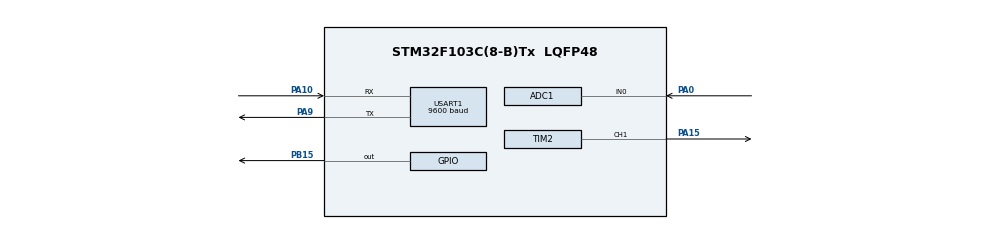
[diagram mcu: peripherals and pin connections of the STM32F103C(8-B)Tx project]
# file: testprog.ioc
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ADC1.Channel-0\#ChannelRegularConversion=ADC_CHANNEL_0
ADC1.ContinuousConvMode=DISABLE
ADC1.DataAlign=ADC_DATAALIGN_RIGHT
ADC1.DiscontinuousConvMode=DISABLE
ADC1.EnableAnalogWatchDog=false
ADC1.EnableRegularConversion=ENABLE
ADC1.ExternalTrigConv=ADC_SOFTWARE_START
ADC1.InjNumberOfConversion=0
ADC1.NbrOfConversion=1
ADC1.NbrOfConversionFlag=1
ADC1.Rank-0\#ChannelRegularConversion=1
ADC1.SamplingTime-0\#ChannelRegularConversion=ADC_SAMPLETIME_55CYCLES_5
ADC1.ScanConvMode=ADC_SCAN_DISABLE
ADC1.master=1
Dma.ADC1.0.Direction=DMA_PERIPH_TO_MEMORY
Dma.ADC1.0.Instance=DMA1_Channel1
Dma.ADC1.0.MemDataAlignment=DMA_MDATAALIGN_HALFWORD
Dma.ADC1.0.MemInc=DMA_MINC_ENABLE
Dma.ADC1.0.Mode=DMA_NORMAL
Dma.ADC1.0.PeriphDataAlignment=DMA_PDATAALIGN_HALFWORD
Dma.ADC1.0.PeriphInc=DMA_PINC_DISABLE
Dma.ADC1.0.Priority=DMA_PRIORITY_LOW
Dma.Request0=ADC1
FREERTOS.HEAP_NUMBER=4
FREERTOS.Tasks01=defaultTask,0,128,StartDefaultTask,Default,NULL,Dynamic,NULL,NULL;MessTask,0,128,StartMessTask,Default,NULL,Dynamic,NULL,NULL;UARTTxTask,0,128,StartUARTTxTask,Default,NULL,Dynamic,NULL,NULL
FREERTOS.configMINIMAL_STACK_SIZE=128
FREERTOS.configTOTAL_HEAP_SIZE=6000
Mcu.Family=STM32F1
Mcu.Name=STM32F103C(8-B)Tx
Mcu.Package=LQFP48
NVIC.DMA1_Channel1_IRQn=true\:5\:0\:false\:false\:true\:true\:false
NVIC.PriorityGroup=NVIC_PRIORITYGROUP_4
NVIC.TIM1_UP_IRQn=true\:0\:0\:false\:false\:true\:false\:false
NVIC.TIM3_IRQn=true\:5\:0\:false\:false\:true\:true\:true
NVIC.TimeBase=TIM1_UP_IRQn
NVIC.TimeBaseIP=TIM1
NVIC.USART1_IRQn=true\:5\:0\:false\:false\:true\:true\:true
PA0-WKUP.Signal=ADCx_IN0
PA10.Mode=Asynchronous
PA10.Signal=USART1_RX
PA15.Signal=S_TIM2_CH1_ETR
PA9.Mode=Asynchronous
PA9.Signal=USART1_TX
PB15.Signal=GPIO_Output
ProjectManager.HeapSize=0x200
ProjectManager.StackSize=0x400
ProjectManager.TargetToolchain=MDK-ARM V4
RCC.APB1Freq_Value=8000000
RCC.APB2Freq_Value=8000000
SH.ADCx_IN0.0=ADC1_IN0,IN0
SH.S_TIM2_CH1_ETR.0=TIM2_CH1,PWM Generation1 CH1
TIM2.Channel-PWM\ Generation1\ CH1=TIM_CHANNEL_1
TIM2.Period=65535
TIM3.Period=10
TIM3.Prescaler=800
USART1.BaudRate=9600
USART1.VirtualMode=VM_ASYNC
VP_FREERTOS_VS_ENABLE.Mode=Enabled
VP_SYS_VS_ND.Mode=No_Debug
VP_SYS_VS_tim1.Mode=TIM1
VP_TIM2_VS_ClockSourceINT.Mode=Internal
VP_TIM3_VS_ClockSourceINT.Mode=Internal
board=testprog

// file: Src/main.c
/**
  ******************************************************************************
  * @file           : main.c
  * @brief          : Main program body
  ******************************************************************************
  * This notice applies to any and all portions of this file
  * that are not between comment pairs USER CODE BEGIN and
  * USER CODE END. Other portions of this file, whether
  * inserted by the user or by software development tools
  * are owned by their respective copyright owners.
  *
  * Copyright (c) 2018 STMicroelectronics International N.V.
  * All rights reserved.
  *
  * Redistribution and use in source and binary forms, with or without
  * modification, are permitted, provided that the following conditions are met:
  *
  * 1. Redistribution of source code must retain the above copyright notice,
  *    this list of conditions and the following disclaimer.
  * 2. Redistributions in binary form must reproduce the above copyright notice,
  *    this list of conditions and the following disclaimer in the documentation
  *    and/or other materials provided with the distribution.
  * 3. Neither the name of STMicroelectronics nor the names of other
  *    contributors to this software may be used to endorse or promote products
  *    derived from this software without specific written permission.
  * 4. This software, including modifications and/or derivative works of this
  *    software, must execute solely and exclusively on microcontroller or
  *    microprocessor devices manufactured by or for STMicroelectronics.
  * 5. Redistribution and use of this software other than as permitted under
  *    this license is void and will automatically terminate your rights under
  *    this license.
  *
  * THIS SOFTWARE IS PROVIDED BY STMICROELECTRONICS AND CONTRIBUTORS "AS IS"
  * AND ANY EXPRESS, IMPLIED OR STATUTORY WARRANTIES, INCLUDING, BUT NOT
  * LIMITED TO, THE IMPLIED WARRANTIES OF MERCHANTABILITY, FITNESS FOR A
  * PARTICULAR PURPOSE AND NON-INFRINGEMENT OF THIRD PARTY INTELLECTUAL PROPERTY
  * RIGHTS ARE DISCLAIMED TO THE FULLEST EXTENT PERMITTED BY LAW. IN NO EVENT
  * SHALL STMICROELECTRONICS OR CONTRIBUTORS BE LIABLE FOR ANY DIRECT, INDIRECT,
  * INCIDENTAL, SPECIAL, EXEMPLARY, OR CONSEQUENTIAL DAMAGES (INCLUDING, BUT NOT
  * LIMITED TO, PROCUREMENT OF SUBSTITUTE GOODS OR SERVICES; LOSS OF USE, DATA,
  * OR PROFITS; OR BUSINESS INTERRUPTION) HOWEVER CAUSED AND ON ANY THEORY OF
  * LIABILITY, WHETHER IN CONTRACT, STRICT LIABILITY, OR TORT (INCLUDING
  * NEGLIGENCE OR OTHERWISE) ARISING IN ANY WAY OUT OF THE USE OF THIS SOFTWARE,
  * EVEN IF ADVISED OF THE POSSIBILITY OF SUCH DAMAGE.
  *
  ******************************************************************************
  */
#include "main.h"
#include "stm32f1xx_hal.h"
#include "cmsis_os.h"

/* USER CODE BEGIN Includes */

#include "adcled.h"

/* USER CODE END Includes */

ADC_HandleTypeDef hadc1;
DMA_HandleTypeDef hdma_adc1;

TIM_HandleTypeDef htim2;
TIM_HandleTypeDef htim3;

UART_HandleTypeDef huart1;

osThreadId defaultTaskHandle;
osThreadId MessTaskHandle;
osThreadId UARTTxTaskHandle;

/* USER CODE BEGIN PV */
/* Private variables ---------------------------------------------------------*/
uint8_t messRXbyte;
uint8_t mess_buf[S_IMESSAGE_BUFFER_SIZE];
int mess_byte_num;
xQueueHandle iqueue, oqueue;
struct Adcled AL;
uint32_t ADC_Value;
uint8_t flag_add_ADC_value;

/* USER CODE END PV */

void SystemClock_Config(void);
static void MX_GPIO_Init(void);
static void MX_DMA_Init(void);
static void MX_ADC1_Init(void);
static void MX_USART1_UART_Init(void);
static void MX_TIM2_Init(void);
static void MX_TIM3_Init(void);
void StartDefaultTask(void const * argument);
void StartMessTask(void const * argument);
void StartUARTTxTask(void const * argument);

void HAL_TIM_MspPostInit(TIM_HandleTypeDef *htim);

/* USER CODE BEGIN PFP */
/* Private function prototypes -----------------------------------------------*/

/* USER CODE END PFP */

int main(void)
{

  /* MCU Configuration----------------------------------------------------------*/

  /* Reset of all peripherals, Initializes the Flash interface and the Systick. */
  HAL_Init();

  /* Configure the system clock */
  SystemClock_Config();

  /* Initialize all configured peripherals */
  MX_GPIO_Init();
  MX_DMA_Init();
  MX_ADC1_Init();
  MX_USART1_UART_Init();
  MX_TIM2_Init();
  MX_TIM3_Init();
  /* USER CODE BEGIN 2 */
	ALinit(&AL);
  /* USER CODE END 2 */

  /* Create the thread(s) */
  /* definition and creation of defaultTask */
  osThreadDef(defaultTask, StartDefaultTask, osPriorityNormal, 0, 128);
  defaultTaskHandle = osThreadCreate(osThread(defaultTask), NULL);

  /* definition and creation of MessTask */
  osThreadDef(MessTask, StartMessTask, osPriorityNormal, 0, 128);
  MessTaskHandle = osThreadCreate(osThread(MessTask), NULL);

  /* definition and creation of UARTTxTask */
  osThreadDef(UARTTxTask, StartUARTTxTask, osPriorityNormal, 0, 128);
  UARTTxTaskHandle = osThreadCreate(osThread(UARTTxTask), NULL);

  /* USER CODE BEGIN RTOS_QUEUES */
  /* add queues, ... */
	iqueue = xQueueCreate(S_IQUEUE_SIZE, S_IMESSAGE_BUFFER_SIZE);
	oqueue = xQueueCreate(S_OQUEUE_SIZE, S_OMESSAGE_BUFFER_SIZE);

  /* USER CODE END RTOS_QUEUES */

  /* Start scheduler */
  osKernelStart();

  /* We should never get here as control is now taken by the scheduler */

  /* Infinite loop */
  while (1)
  {

  }

}

void SystemClock_Config(void)
{

  RCC_OscInitTypeDef RCC_OscInitStruct;
  RCC_ClkInitTypeDef RCC_ClkInitStruct;
  RCC_PeriphCLKInitTypeDef PeriphClkInit;

    /**Initializes the CPU, AHB and APB busses clocks
    */
  RCC_OscInitStruct.OscillatorType = RCC_OSCILLATORTYPE_HSI;
  RCC_OscInitStruct.HSIState = RCC_HSI_ON;
  RCC_OscInitStruct.HSICalibrationValue = 16;
  RCC_OscInitStruct.PLL.PLLState = RCC_PLL_NONE;
  if (HAL_RCC_OscConfig(&RCC_OscInitStruct) != HAL_OK)
  {
    _Error_Handler(__FILE__, __LINE__);
  }

    /**Initializes the CPU, AHB and APB busses clocks
    */
  RCC_ClkInitStruct.ClockType = RCC_CLOCKTYPE_HCLK|RCC_CLOCKTYPE_SYSCLK
                              |RCC_CLOCKTYPE_PCLK1|RCC_CLOCKTYPE_PCLK2;
  RCC_ClkInitStruct.SYSCLKSource = RCC_SYSCLKSOURCE_HSI;
  RCC_ClkInitStruct.AHBCLKDivider = RCC_SYSCLK_DIV1;
  RCC_ClkInitStruct.APB1CLKDivider = RCC_HCLK_DIV1;
  RCC_ClkInitStruct.APB2CLKDivider = RCC_HCLK_DIV1;

  if (HAL_RCC_ClockConfig(&RCC_ClkInitStruct, FLASH_LATENCY_0) != HAL_OK)
  {
    _Error_Handler(__FILE__, __LINE__);
  }

  PeriphClkInit.PeriphClockSelection = RCC_PERIPHCLK_ADC;
  PeriphClkInit.AdcClockSelection = RCC_ADCPCLK2_DIV2;
  if (HAL_RCCEx_PeriphCLKConfig(&PeriphClkInit) != HAL_OK)
  {
    _Error_Handler(__FILE__, __LINE__);
  }

    /**Configure the Systick interrupt time
    */
  HAL_SYSTICK_Config(HAL_RCC_GetHCLKFreq()/1000);

    /**Configure the Systick
    */
  HAL_SYSTICK_CLKSourceConfig(SYSTICK_CLKSOURCE_HCLK);

  /* SysTick_IRQn interrupt configuration */
  HAL_NVIC_SetPriority(SysTick_IRQn, 15, 0);
}

/* ADC1 init function */
static void MX_ADC1_Init(void)
{

  ADC_ChannelConfTypeDef sConfig;

    /**Common config
    */
  hadc1.Instance = ADC1;
  hadc1.Init.ScanConvMode = ADC_SCAN_DISABLE;
  hadc1.Init.ContinuousConvMode = DISABLE;
  hadc1.Init.DiscontinuousConvMode = DISABLE;
  hadc1.Init.ExternalTrigConv = ADC_SOFTWARE_START;
  hadc1.Init.DataAlign = ADC_DATAALIGN_RIGHT;
  hadc1.Init.NbrOfConversion = 1;
  if (HAL_ADC_Init(&hadc1) != HAL_OK)
  {
    _Error_Handler(__FILE__, __LINE__);
  }

    /**Configure Regular Channel
    */
  sConfig.Channel = ADC_CHANNEL_0;
  sConfig.Rank = ADC_REGULAR_RANK_1;
  sConfig.SamplingTime = ADC_SAMPLETIME_55CYCLES_5;
  if (HAL_ADC_ConfigChannel(&hadc1, &sConfig) != HAL_OK)
  {
    _Error_Handler(__FILE__, __LINE__);
  }

}

/* TIM2 init function */
static void MX_TIM2_Init(void)
{

  TIM_ClockConfigTypeDef sClockSourceConfig;
  TIM_MasterConfigTypeDef sMasterConfig;
  TIM_OC_InitTypeDef sConfigOC;

  htim2.Instance = TIM2;
  htim2.Init.Prescaler = 0;
  htim2.Init.CounterMode = TIM_COUNTERMODE_UP;
  htim2.Init.Period = 65535;
  htim2.Init.ClockDivision = TIM_CLOCKDIVISION_DIV1;
  htim2.Init.AutoReloadPreload = TIM_AUTORELOAD_PRELOAD_DISABLE;
  if (HAL_TIM_Base_Init(&htim2) != HAL_OK)
  {
    _Error_Handler(__FILE__, __LINE__);
  }

  sClockSourceConfig.ClockSource = TIM_CLOCKSOURCE_INTERNAL;
  if (HAL_TIM_ConfigClockSource(&htim2, &sClockSourceConfig) != HAL_OK)
  {
    _Error_Handler(__FILE__, __LINE__);
  }

  if (HAL_TIM_PWM_Init(&htim2) != HAL_OK)
  {
    _Error_Handler(__FILE__, __LINE__);
  }

  sMasterConfig.MasterOutputTrigger = TIM_TRGO_RESET;
  sMasterConfig.MasterSlaveMode = TIM_MASTERSLAVEMODE_DISABLE;
  if (HAL_TIMEx_MasterConfigSynchronization(&htim2, &sMasterConfig) != HAL_OK)
  {
    _Error_Handler(__FILE__, __LINE__);
  }

  sConfigOC.OCMode = TIM_OCMODE_PWM1;
  sConfigOC.Pulse = 0;
  sConfigOC.OCPolarity = TIM_OCPOLARITY_HIGH;
  sConfigOC.OCFastMode = TIM_OCFAST_DISABLE;
  if (HAL_TIM_PWM_ConfigChannel(&htim2, &sConfigOC, TIM_CHANNEL_1) != HAL_OK)
  {
    _Error_Handler(__FILE__, __LINE__);
  }

  HAL_TIM_MspPostInit(&htim2);

}

/* TIM3 init function */
static void MX_TIM3_Init(void)
{

  TIM_ClockConfigTypeDef sClockSourceConfig;
  TIM_MasterConfigTypeDef sMasterConfig;

  htim3.Instance = TIM3;
  htim3.Init.Prescaler = 800;
  htim3.Init.CounterMode = TIM_COUNTERMODE_UP;
  htim3.Init.Period = 10;
  htim3.Init.ClockDivision = TIM_CLOCKDIVISION_DIV1;
  htim3.Init.AutoReloadPreload = TIM_AUTORELOAD_PRELOAD_DISABLE;
  if (HAL_TIM_Base_Init(&htim3) != HAL_OK)
  {
    _Error_Handler(__FILE__, __LINE__);
  }

  sClockSourceConfig.ClockSource = TIM_CLOCKSOURCE_INTERNAL;
  if (HAL_TIM_ConfigClockSource(&htim3, &sClockSourceConfig) != HAL_OK)
  {
    _Error_Handler(__FILE__, __LINE__);
  }

  sMasterConfig.MasterOutputTrigger = TIM_TRGO_RESET;
  sMasterConfig.MasterSlaveMode = TIM_MASTERSLAVEMODE_DISABLE;
  if (HAL_TIMEx_MasterConfigSynchronization(&htim3, &sMasterConfig) != HAL_OK)
  {
    _Error_Handler(__FILE__, __LINE__);
  }

}

/* USART1 init function */
static void MX_USART1_UART_Init(void)
{

  huart1.Instance = USART1;
  huart1.Init.BaudRate = 9600;
  huart1.Init.WordLength = UART_WORDLENGTH_8B;
  huart1.Init.StopBits = UART_STOPBITS_1;
  huart1.Init.Parity = UART_PARITY_NONE;
  huart1.Init.Mode = UART_MODE_TX_RX;
  huart1.Init.HwFlowCtl = UART_HWCONTROL_NONE;
  huart1.Init.OverSampling = UART_OVERSAMPLING_16;
  if (HAL_UART_Init(&huart1) != HAL_OK)
  {
    _Error_Handler(__FILE__, __LINE__);
  }

}

static void MX_DMA_Init(void)
{
  /* DMA controller clock enable */
  __HAL_RCC_DMA1_CLK_ENABLE();

  /* DMA interrupt init */
  /* DMA1_Channel1_IRQn interrupt configuration */
  HAL_NVIC_SetPriority(DMA1_Channel1_IRQn, 5, 0);
  HAL_NVIC_EnableIRQ(DMA1_Channel1_IRQn);

}

/** Configure pins as
        * Analog
        * Input
        * Output
        * EVENT_OUT
        * EXTI
*/
static void MX_GPIO_Init(void)
{

  GPIO_InitTypeDef GPIO_InitStruct;

  /* GPIO Ports Clock Enable */
  __HAL_RCC_GPIOA_CLK_ENABLE();
  __HAL_RCC_GPIOB_CLK_ENABLE();

  /*Configure GPIO pin Output Level */
  HAL_GPIO_WritePin(GPIOB, GPIO_PIN_15, GPIO_PIN_RESET);

  /*Configure GPIO pin : PB15 */
  GPIO_InitStruct.Pin = GPIO_PIN_15;
  GPIO_InitStruct.Mode = GPIO_MODE_OUTPUT_PP;
  GPIO_InitStruct.Speed = GPIO_SPEED_FREQ_LOW;
  HAL_GPIO_Init(GPIOB, &GPIO_InitStruct);

}

/* USER CODE BEGIN 4 */
/**
  * @brief  Callback function of UART receive interrupt.
  * @note   This function is called when on UART incomming new byte.
  *         Incomming bytes accumulating to buffer until terminal null,
	*					and further sending in queue for parsing.
  * @retval None
  */
void HAL_UART_RxCpltCallback(UART_HandleTypeDef *huart)
{
	if (messRXbyte == 0)
	{
		mess_buf[mess_byte_num] = 0;
		//put in queue
		if (xQueueSendToBackFromISR(iqueue, mess_buf, 0) != pdPASS)
				xQueueSendToBackFromISR(oqueue, "BUSY\n\0", 0);
		mess_byte_num = 0;
	}
	else
	if(mess_byte_num < S_IMESSAGE_SIZE)
	{
		mess_buf[mess_byte_num++] = messRXbyte;
	}
	HAL_UART_Receive_IT(&huart1, &messRXbyte, 1);
}

/**
  * @brief  Callback function of ADC converting interrupt.
  * @note   This function called of finish of converting ADC value.
  *         Wherein stoping ADC, and write meansuring result to
  *         TIM2 PWM-register with conversion from 12-bit to 16-bit.
  * @retval None
  */
void HAL_ADC_ConvCpltCallback(ADC_HandleTypeDef* hadc)
{
	if(hadc->Instance == ADC1)
	{
		HAL_ADC_Stop_DMA(&hadc1);
		TIM2->CCR1 = ADC_Value << 4;   // from ADC to PWM (no the DAC on this MC, but another MC don't start on the keil simulator)
		flag_add_ADC_value = 1;
	}
}

/* USER CODE END 4 */

/* StartDefaultTask function */
/**
  * @brief  Thread function of main loop
  * @note   This function is needed for start TIMs, init UART-interrupt,
  *         control of LED, output and calc AVG voltage, change TIM3 period
  *         in eternal loop
  * @retval None
  */
void StartDefaultTask(void const * argument)
{

  /* USER CODE BEGIN 5 */
  /* Infinite loop */
	HAL_UART_StateTypeDef uartstate;
	HAL_TIM_PWM_Start(&htim2, TIM_CHANNEL_1);   // start PWM timer
	HAL_TIM_Base_Start_IT(&htim3);              // start ADC-read timer
	flag_add_ADC_value = 0;
	while(1)
	{
		//check UART State and if it ready start receive next byte
		uartstate = HAL_UART_GetState(&huart1);
		if (uartstate==HAL_UART_STATE_READY)
		{
			HAL_UART_Receive_IT(&huart1, &messRXbyte, 1);
		}
		//LED proc
		if (AL.Led) {HAL_GPIO_WritePin(GPIOB, GPIO_PIN_15, GPIO_PIN_SET);}
		else HAL_GPIO_WritePin(GPIOB, GPIO_PIN_15, GPIO_PIN_RESET);
		//out AGV
		if (AL.AVG_V_out) {
			{xQueueSendToBackFromISR(oqueue, AL.stravg, 0);}
			AL.AVG_V_out = 0;
		}
		//ADC AVG calc
		if (flag_add_ADC_value) {
			add_ADC_Value(&AL, ADC_Value);
			flag_add_ADC_value = 0;
		}
		//TIM3 change period
		if ((AL.Period>=10) && (AL.Period<=1000)){
			TIM3->ARR = AL.Period;
		}
	}
  /* USER CODE END 5 */
}

/* StartMessTask function */
/**
  * @brief  Thread function of message processing loop
  * @note   Loop of waiting incoming message, call parsing
  *         function ALdoit and UART output "OK", if OK
  * @retval None
  */
void StartMessTask(void const * argument)
{
  /* USER CODE BEGIN StartMessTask */
  /* Infinite loop */
  uint8_t inmess_buf[S_IMESSAGE_BUFFER_SIZE];
	BaseType_t xStatus;
	while(1)
	{
		xStatus = xQueueReceive(iqueue, inmess_buf, 0);
		if(xStatus == pdPASS)
		{
			//mess proc
			if (ALdoit(&AL, (char *)inmess_buf))
				{xQueueSendToBackFromISR(oqueue, "OK\n\0", 0);}
		}
	}
  /* USER CODE END StartMessTask */
}

/* StartUARTTxTask function */
/**
  * @brief  Thread function of UART output loop
  * @note   Loop of waiting output messages from queue oqueue and
  *         transmit their to UART
  * @retval None
  */
void StartUARTTxTask(void const * argument)
{
  /* USER CODE BEGIN StartUARTTxTask */
  /* Infinite loop */
	uint8_t outmess_buf[S_OMESSAGE_BUFFER_SIZE];
	BaseType_t xStatus;
	int n;
	while(1)
	{
		xStatus = xQueueReceive(oqueue, outmess_buf, 0);
		if(xStatus == pdPASS)
		{
			for(n=1; (n<S_OMESSAGE_BUFFER_SIZE)&&(outmess_buf[n]!=0); n++);  //calculate length of string in outmessage_buf
			HAL_UART_Transmit(&huart1, outmess_buf, n, 100);
		}
	}
  /* USER CODE END StartUARTTxTask */
}

void HAL_TIM_PeriodElapsedCallback(TIM_HandleTypeDef *htim)
{
  if (htim->Instance == TIM1) {
    HAL_IncTick();
  }
  /* USER CODE BEGIN Callback 1 */

	if (htim->Instance == TIM3) {
		HAL_ADC_Start_DMA(&hadc1, &ADC_Value, 1);
	}
  /* USER CODE END Callback 1 */
}

void _Error_Handler(char *file, int line)
{
  while(1)
  {
  }
}

/************************ (C) COPYRIGHT STMicroelectronics *****END OF FILE****/
